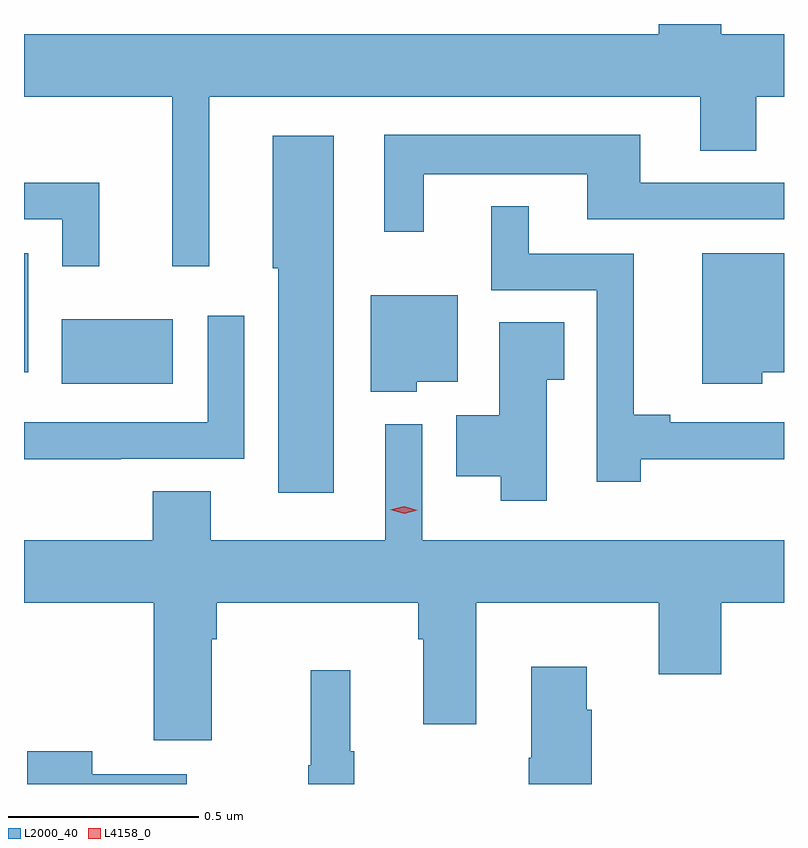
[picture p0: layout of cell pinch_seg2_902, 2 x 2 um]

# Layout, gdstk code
import gdstk
lib = gdstk.Library(unit=1e-6, precision=1e-09)
def R(c, l, rs):  # rectangles x0, y0, x1, y1
    for r in rs: c.add(gdstk.rectangle(r[:2], r[2:], *l))
def P(c, l, *ps):  # polygons
    for p in ps: c.add(gdstk.Polygon(p, *l))
L2000_40 = (2000, 40)
L4158_0 = (4158, 0)

pinch_seg2_902 = lib.new_cell('pinch_seg2_902')
R(pinch_seg2_902, L2000_40, [(451.148,588.272,451.441,588.442), (451.049,588.302,451.06,588.616)])
P(pinch_seg2_902, L2000_40, [(451.537,589.028),(452.828,589.028),(452.828,588.886),(452.976,588.886),(452.976,589.028),(453.049,589.028),(453.049,589.192),(452.884,589.192),(452.884,589.219),(452.72,589.219),(452.72,589.192),(451.049,589.192),(451.049,589.028),(451.439,589.028),(451.439,588.582),(451.537,588.582)],
  [(452.101,588.824),(452.531,588.824),(452.531,588.705),(453.049,588.705),(453.049,588.801),(452.671,588.801),(452.671,588.928),(451.997,588.928),(451.997,588.672),(452.101,588.672)],
  [(451.864,588.925),(451.703,588.925),(451.703,588.576),(451.718,588.576),(451.718,587.985),(451.864,587.985)],
  [(451.247,588.801),(451.049,588.801),(451.049,588.705),(451.149,588.705),(451.149,588.582),(451.247,588.582)],
  [(452.672,588.074),(453.049,588.074),(453.049,588.171),(452.749,588.171),(452.749,588.191),(452.654,588.191),(452.654,588.615),(452.377,588.615),(452.377,588.739),(452.279,588.739),(452.279,588.519),(452.556,588.519),(452.556,588.015),(452.672,588.015)],
  [(452.992,588.302),(453.049,588.302),(453.049,588.616),(452.834,588.616),(452.834,588.272),(452.992,588.272)],
  [(452.082,588.278),(452.191,588.278),(452.191,588.505),(451.961,588.505),(451.961,588.251),(452.082,588.251)],
  [(451.304,588.075),(451.629,588.075),(451.629,588.451),(451.533,588.451),(451.533,588.171),(451.049,588.171),(451.049,588.074),(451.304,588.074)],
  [(452.425,588.283),(452.471,588.283),(452.471,588.434),(452.3,588.434),(452.3,588.19),(452.186,588.19),(452.186,588.029),(452.303,588.029),(452.303,587.964),(452.425,587.964)],
  [(451.543,587.6),(451.556,587.6),(451.556,587.696),(452.087,587.696),(452.087,587.6),(452.099,587.6),(452.099,587.376),(452.239,587.376),(452.239,587.696),(452.72,587.696),(452.72,587.508),(452.884,587.508),(452.884,587.696),(453.049,587.696),(453.049,587.86),(452.097,587.86),(452.097,588.166),(452,588.166),(452,587.86),(451.54,587.86),(451.54,587.99),(451.388,587.99),(451.388,587.86),(451.049,587.86),(451.049,587.696),(451.391,587.696),(451.391,587.334),(451.543,587.334)],
  [(452.543,587.414),(452.53,587.414),(452.53,587.527),(452.384,587.527),(452.384,587.288),(452.377,587.288),(452.377,587.219),(452.543,587.219)],
  [(451.918,587.305),(451.907,587.305),(451.907,587.518),(451.804,587.518),(451.804,587.268),(451.797,587.268),(451.797,587.219),(451.918,587.219)],
  [(451.477,587.245),(451.229,587.245),(451.229,587.305),(451.058,587.305),(451.058,587.219),(451.477,587.219)])
P(pinch_seg2_902, L4158_0, [(452.049,587.93),(452.013,587.941),(452.013,587.941),(452.013,587.941),(452.049,587.95),(452.084,587.94),(452.084,587.94),(452.084,587.94)])

lib.write_gds('pinch_seg2_902.gds')
